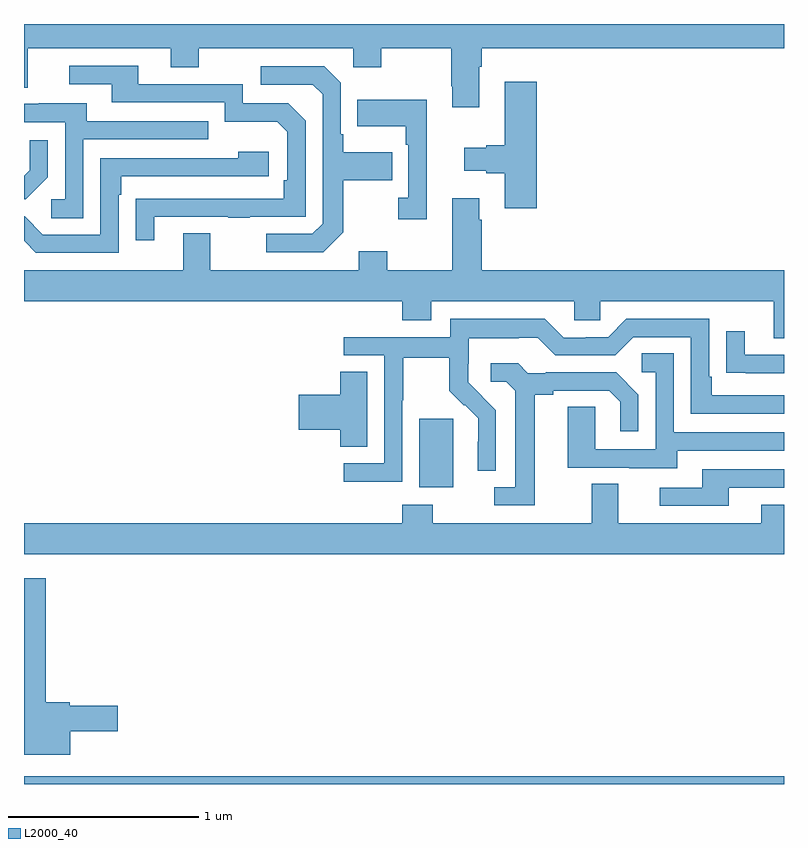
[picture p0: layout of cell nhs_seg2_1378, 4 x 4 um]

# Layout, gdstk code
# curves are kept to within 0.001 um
import gdstk
lib = gdstk.Library(unit=1e-6, precision=1e-09)
def R(c, l, rs):  # rectangles x0, y0, x1, y1
    for r in rs: c.add(gdstk.rectangle(r[:2], r[2:], *l))
def P(c, l, *ps):  # polygons
    for p in ps: c.add(gdstk.Polygon(p, *l))
L2000_40 = (2000, 40)

nhs_seg2_1378 = lib.new_cell('nhs_seg2_1378')
R(nhs_seg2_1378, L2000_40, [(183,607.8,187,607.84), (185.081,609.362,185.26,609.723)])
P(nhs_seg2_1378, L2000_40, [(185.395,611.576),(185.408,611.576),(185.408,611.672),(187,611.672),(187,611.8),(183,611.8),(183,611.464),(183.019,611.464),(183.019,611.672),(183.773,611.672),(183.773,611.573),(183.921,611.573),(183.921,611.672),(184.734,611.672),(184.734,611.573),(184.881,611.573),(184.881,611.672),(185.248,611.672),(185.248,611.473),(185.255,611.473),(185.255,611.361),(185.395,611.361)],
  [(183.685,610.785),(184.075,610.785),(184.075,610.78),(184.187,610.78),(184.187,610.785),(184.482,610.785),(184.482,611.292),(184.392,611.382),(184.152,611.382),(184.152,611.484),(183.601,611.484),(183.601,611.58),(183.237,611.58),(183.237,611.484),(183.461,611.484),(183.461,611.388),(184.056,611.388),(184.056,611.285),(184.333,611.285),(184.386,611.232),(184.386,610.978),(184.366,610.978),(184.366,610.881),(183.589,610.88),(183.589,610.662),(183.685,610.662)],
  [(184.681,610.705),(184.681,610.978),(184.937,610.978),(184.937,611.125),(184.681,611.125),(184.681,611.221),(184.668,611.221),(184.668,611.49),(184.581,611.577),(184.245,611.577),(184.245,611.481),(184.521,611.481),(184.572,611.43),(184.572,610.749),(184.518,610.695),(184.275,610.695),(184.275,610.599),(184.575,610.599)],
  [(185.699,611.497),(185.531,611.497),(185.531,611.162),(185.432,611.162),(185.432,611.149),(185.316,611.149),(185.316,611.027),(185.432,611.027),(185.432,611.015),(185.531,611.015),(185.531,610.83),(185.699,610.83)],
  [(185.12,611.401),(184.753,611.401),(184.753,611.261),(185.01,611.261),(185.01,611.165),(185.022,611.165),(185.022,610.886),(184.971,610.886),(184.971,610.773),(185.12,610.773)],
  [(183.312,611.193),(183.971,611.193),(183.971,611.289),(183.331,611.289),(183.331,611.383),(183.077,611.383),(183.077,611.379),(183,611.379),(183,611.283),(183.216,611.283),(183.216,610.878),(183.144,610.878),(183.144,610.777),(183.312,610.777)],
  [(183.126,610.994),(183.126,611.188),(183.029,611.188),(183.029,611.031),(183,611.002),(183,610.878),(183.01,610.878)],
  [(183.498,610.901),(183.511,610.901),(183.511,610.998),(184.288,610.998),(184.288,611.128),(184.127,611.128),(184.127,611.094),(183.402,611.094),(183.402,610.692),(183.099,610.692),(183.003,610.788),(183,610.788),(183,610.659),(183.063,610.596),(183.498,610.596)],
  [(187,610.504),(185.408,610.504),(185.408,610.769),(185.395,610.769),(185.395,610.882),(185.255,610.882),(185.255,610.504),(184.911,610.504),(184.911,610.603),(184.763,610.603),(184.763,610.504),(183.979,610.504),(183.979,610.699),(183.839,610.699),(183.839,610.504),(183,610.504),(183,610.34),(184.991,610.34),(184.991,610.241),(185.143,610.241),(185.143,610.34),(185.895,610.34),(185.895,610.242),(186.033,610.242),(186.033,610.34),(186.947,610.34),(186.947,610.146),(187,610.146)],
  [(184.992,609.82),(184.995,609.82),(184.995,610.044),(185.239,610.044),(185.239,609.869),(185.316,609.792),(185.319,609.795),(185.39,609.725),(185.39,609.602),(185.388,609.602),(185.388,609.448),(185.484,609.448),(185.484,609.766),(185.338,609.914),(185.338,610.011),(185.34,610.011),(185.34,610.145),(185.603,610.145),(185.603,610.149),(185.703,610.149),(185.796,610.056),(186.111,610.056),(186.207,610.152),(186.51,610.152),(186.51,609.75),(187,609.75),(187,609.846),(186.619,609.846),(186.619,609.943),(186.606,609.943),(186.606,610.248),(186.171,610.248),(186.075,610.152),(185.957,610.152),(185.957,610.149),(185.841,610.149),(185.741,610.249),(185.244,610.249),(185.244,610.152),(184.683,610.152),(184.683,610.056),(184.896,610.056),(184.896,609.489),(184.683,609.489),(184.683,609.391),(184.992,609.391)],
  [(187,610.059),(186.793,610.059),(186.793,610.183),(186.697,610.183),(186.697,609.964),(186.799,609.964),(186.799,609.963),(187,609.963)],
  [(186.439,609.555),(187,609.555),(187,609.651),(186.42,609.651),(186.42,610.067),(186.252,610.067),(186.252,609.966),(186.324,609.966),(186.324,609.561),(186.006,609.561),(186.006,609.785),(185.861,609.785),(185.861,609.465),(186.185,609.465),(186.185,609.461),(186.439,609.461)],
  [(185.689,609.848),(185.785,609.848),(185.785,609.87),(186.08,609.87),(186.137,609.813),(186.137,609.657),(186.234,609.657),(186.234,609.85),(186.118,609.966),(185.746,609.966),(185.746,609.963),(185.652,609.963),(185.6,610.015),(185.457,610.015),(185.457,609.918),(185.538,609.918),(185.585,609.871),(185.585,609.363),(185.475,609.363),(185.475,609.267),(185.689,609.267)],
  [(184.807,609.971),(184.664,609.971),(184.664,609.848),(184.446,609.848),(184.446,609.665),(184.664,609.665),(184.664,609.574),(184.807,609.574)],
  [(186.709,609.36),(187,609.36),(187,609.456),(186.569,609.456),(186.569,609.36),(186.345,609.36),(186.345,609.264),(186.709,609.264)],
  [(187,609.271),(186.881,609.271),(186.881,609.172),(186.127,609.172),(186.127,609.38),(185.987,609.38),(185.987,609.172),(185.151,609.172),(185.151,609.271),(184.991,609.271),(184.991,609.172),(183,609.172),(183,609.008),(187,609.008)],
  [(183.244,608.078),(183.493,608.078),(183.493,608.213),(183.24,608.213),(183.24,608.231),(183.115,608.231),(183.115,608.884),(183,608.884),(183,607.955),(183.244,607.955)])

lib.write_gds('nhs_seg2_1378.gds')
